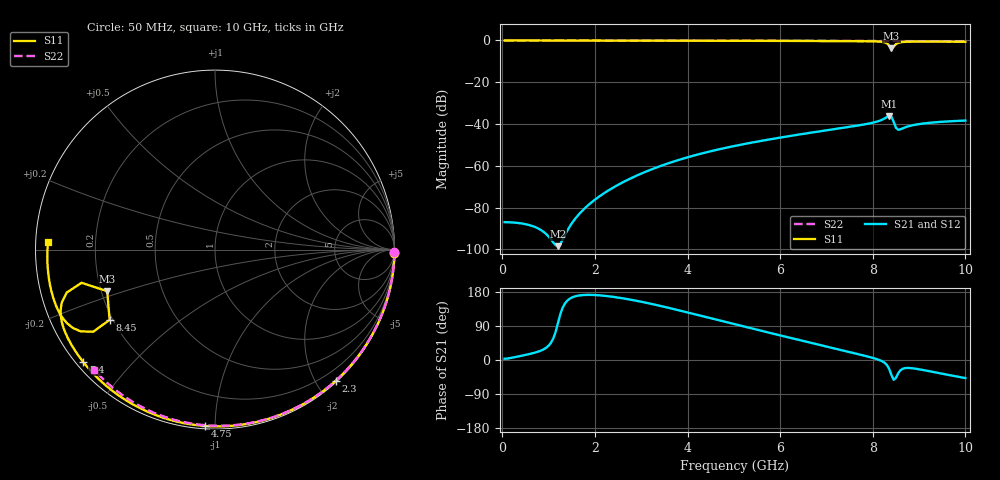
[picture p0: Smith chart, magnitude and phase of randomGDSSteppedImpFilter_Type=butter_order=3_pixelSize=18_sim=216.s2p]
! freq	dB(S11)	phase(S11)	dB(S12)	phase(S12)
!  dB(S21)	phase(S21)	dB(S22)	phase(S22)
!S-par simulation data
#  GHz  S  DB  R 50
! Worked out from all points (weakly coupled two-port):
!   200 points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, 50 MHz to 10 GHz, reference 50 ohm
!   highest |S21| = -36.09 dB at 8.35 GHz (marker M1); lowest = -98.4 dB at 1.2 GHz (marker M2)
!   lowest |S11| = -3.8 dB at 8.4 GHz (marker M3), VSWR 4.61, Z = 11.2 - j8.85 ohm
!   |S11| at or under -10 dB: nowhere
!   |S22| runs from -0.5 to 0.0 dB; largest |S21 - S12| = 0
!   S11 on the Smith chart (normalised r, x): 50 MHz: open; 2.3 GHz: 0.02, -2.29; 4.75 GHz: 0.02, -0.94; 7.4 GHz: 0.02, -0.37; 8.45 GHz: 0.19, -0.29; 10 GHz: 0.04, +0.02
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0.05  -0.00 -1.1  -86.96 3.3  -86.96 3.3  -0.00 -0.8
1.2  -0.03 -25.1  -98.45 96.1  -98.45 96.1  -0.02 -18.4
1.75  -0.05 -36.2  -80.97 171.4  -80.97 171.4  -0.03 -26.7
1.8  -0.05 -37.3  -79.91 171.8  -79.91 171.8  -0.04 -27.4
2.3  -0.06 -47.3  -71.66 168.1  -71.66 168.1  -0.04 -34.9
2.8  -0.07 -57.1  -65.72 158.5  -65.72 158.5  -0.05 -42.2
3.4  -0.09 -68.5  -60.22 143.1  -60.22 143.1  -0.07 -50.8
4.75  -0.14 -93.3  -51.74 102.4  -51.74 102.4  -0.10 -69.5
5.05  -0.15 -98.6  -50.33 93.3  -50.33 93.3  -0.11 -73.5
6.7  -0.25 -127.2  -44.01 44.5  -44.01 44.5  -0.18 -94.7
7.4  -0.31 -139.6  -41.67 24.0  -41.67 24.0  -0.22 -103.3
7.95  -0.41 -150.7  -39.60 7.2  -39.60 7.2  -0.26 -110.0
8.2  -0.67 -158.4  -37.95 -3.2  -37.95 -3.2  -0.28 -113.0
8.3  -1.31 -163.8  -36.73 -12.4  -36.73 -12.4  -0.28 -114.2
8.35  -2.32 -166.0  -36.09 -22.2  -36.09 -22.2  -0.29 -114.8
8.4  -3.83 -158.9  -36.31 -38.6  -36.31 -38.6  -0.29 -115.4
8.45  -3.03 -146.3  -38.84 -52.2  -38.84 -52.2  -0.30 -116.0
8.5  -1.74 -146.0  -41.80 -47.3  -41.80 -47.3  -0.30 -116.6
8.55  -1.15 -148.7  -42.74 -34.8  -42.74 -34.8  -0.31 -117.2
8.8  -0.58 -157.9  -40.88 -21.1  -40.88 -21.1  -0.33 -120.2
9.3  -0.54 -168.9  -39.26 -31.5  -39.26 -31.5  -0.38 -126.2
10  -0.61 177.5  -38.33 -47.7  -38.33 -47.7  -0.46 -135.1
